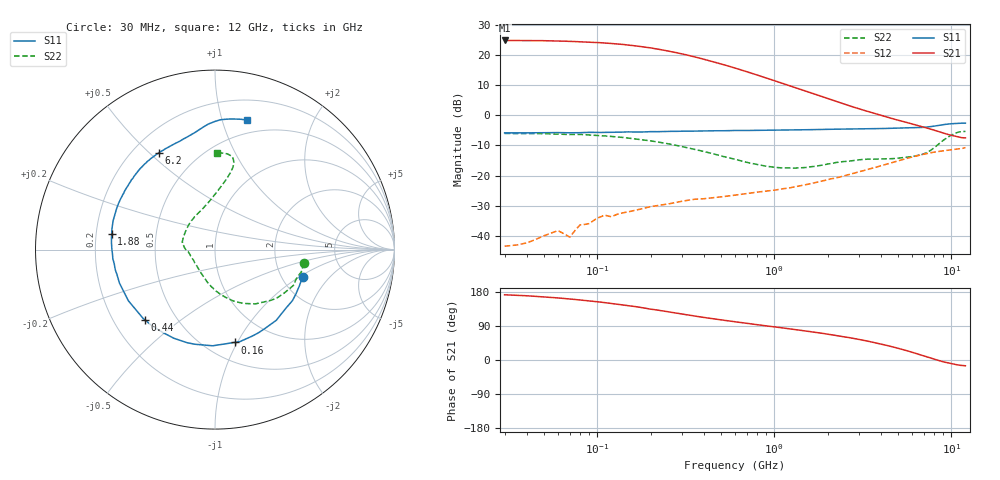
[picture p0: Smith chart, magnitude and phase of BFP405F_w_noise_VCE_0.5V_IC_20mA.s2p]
! Infineon Technologies  Discrete & RF Semiconductors
! BFP405F
! VCE =  0.5 V,  IC =  20 mA
! Common Emitter S-Parameters:  Nov 2015
# GHz  S  MA  R  50
!  f  S11  S21  S12  S22
! GHz  MAG  ANG  MAG  ANG  MAG  ANG  MAG  ANG
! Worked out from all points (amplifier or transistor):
!   239 points, 30 MHz to 12 GHz, reference 50 ohm
!   highest |S21| = 24.8 dB at 30 MHz (marker M1)
!   |S21| within 3 dB of that: start of sweep to 226.7 MHz
!   unconditionally stable (mu >= 1): start of sweep to 94.51 MHz; 426.7 MHz to end of sweep
!   at 300 MHz: K = 0.85, MSG = 24.4 dB, |S12| = -28.5 dB
!   at 1.88 GHz: K = 2.10, MAG = 8.0 dB, |S12| = -21.8 dB
!   at 12 GHz: K = 1.75, MAG = -3.4 dB, |S12| = -10.7 dB
!   lowest NFmin = 2.24 dB at 450 MHz
!   S11 on the Smith chart (normalised r, x): 30 MHz: 2.59, -1.06; 160 MHz: 0.68, -0.97; 440 MHz: 0.33, -0.37; 1.88 GHz: 0.27, +0.07; 6.2 GHz: 0.30, +0.54; 12 GHz: 0.38, +1.20
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0.03  0.5109 -17.2  17.33 172.1  0.0068 86.3  0.4992 -8.6
0.04  0.5118 -23.2  17.27 169.5  0.0077 66.6  0.4979 -12.2
0.05  0.5144 -29.0  17.17 166.4  0.0101 83.4  0.4967 -14.6
0.06  0.5167 -33.4  16.98 163.8  0.0123 77.0  0.4866 -17.3
0.07  0.5127 -38.9  16.75 160.9  0.0096 77.4  0.4801 -20.6
0.085  0.5175 -46.5  16.39 157.4  0.0156 75.8  0.4767 -25.5
0.1  0.5194 -53.5  16.02 153.9  0.0198 71.1  0.4606 -30.0
0.12  0.5231 -62.7  15.44 149.5  0.0209 60.8  0.4465 -34.8
0.16  0.5285 -78.1  14.22 141.6  0.0263 60.2  0.4093 -44.6
0.2  0.5361 -91.4  13.07 134.2  0.0307 54.1  0.3771 -53.3
0.24  0.539 -101.9  11.89 128.7  0.0333 51.4  0.3456 -60.4
0.3  0.5445 -114.9  10.4 121.2  0.0376 48.2  0.304 -70.3
0.44  0.5533 -135.2  7.853 109.6  0.0429 43.1  0.2348 -87.4
0.6  0.5605 -149.5  6.025 100.8  0.0476 41.1  0.1864 -103.3
0.9  0.563 -165.1  4.136 90.0  0.0556 42.1  0.1435 -128.0
1.64  0.5787 175.5  2.303 74.1  0.0748 46.4  0.1412 -167.5
1.88  0.5821 171.2  2.009 70.1  0.0817 46.8  0.1494 -175.2
2.72  0.5926 159.0  1.406 58.0  0.1066 46.4  0.1758 173.0
4.5  0.6083 138.0  0.904 36.5  0.1609 39.8  0.1906 153.4
6.2  0.6236 119.9  0.701 18.4  0.2085 29.0  0.2109 125.5
10  0.724 87.6  0.466 -9.7  0.268 5.0  0.4685 77.7
12  0.741 76.2  0.423 -15.2  0.2927 -1.3  0.5399 88.7
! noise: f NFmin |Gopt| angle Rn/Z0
0.45  2.24  0.02  -18  0.47
0.9  2.25  0.01  -90  0.3
1.5  2.31  0.03  -114  0.38
1.9  2.38  0.04  -120  0.52
2.4  2.53  0.05  -120  0.18
3  2.62  0.07  -120  0.16
3.5  2.7  0.09  -118  0.22
4.5  2.94  0.14  -105  0.5
5.5  3.27  0.24  -88  0.52
